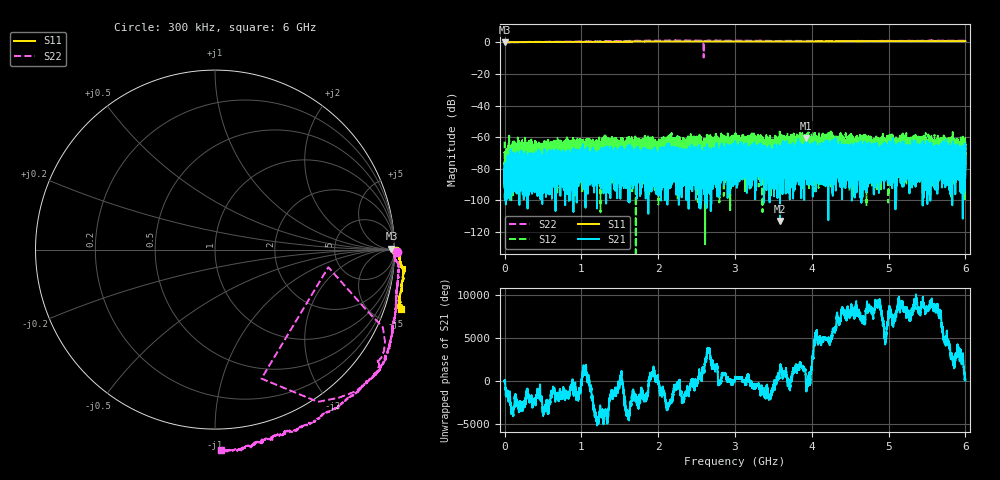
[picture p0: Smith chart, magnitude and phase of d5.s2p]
!Agilent Technologies,N5230C,SG49000117,A.08.50.07
!Agilent N5230C: A.08.50.07
!Date: Thursday, May 16, 2024 18:09:29
!Correction: S11(Full 2 Port(1,2))
!S21(Full 2 Port(1,2))
!S12(Full 2 Port(1,2))
!S22(Full 2 Port(1,2))
!S2P File: Measurements: S11, S21, S12, S22:
# Hz S  MA  R 50
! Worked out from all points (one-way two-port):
!   20001 points, 300 kHz to 6 GHz, reference 50 ohm
!   highest |S21| = -60.45 dB at 3.926 GHz (marker M1); lowest = -113.0 dB at 3.586 GHz (marker M2)
!   lowest |S11| = -0.1 dB at 600 kHz (marker M3), VSWR 118.18, Z = 5.35e+03 + j1.72e+03 ohm
!   |S11| at or under -10 dB: nowhere
!   |S22| runs from -9.6 to 1.1 dB; largest |S21 - S12| = 0.0018
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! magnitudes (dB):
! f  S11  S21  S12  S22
! 300 kHz  0.1  -76.4  -62.7  0.1
! 600 kHz  -0.1  -92.1  -71.9  -0.3
! 30.6 MHz  0.0  -82.6  -68.8  0.0
! 245.7 MHz  0.1  -83.3  -71.5  0.2
! 449.7 MHz  0.2  -76.7  -77.0  0.2
! 1 GHz  0.3  -81.9  -69.5  0.4
! 2 GHz  0.5  -78.4  -74.2  1.0
! 2.149 GHz  0.5  -72.2  -77.7  1.1
! 2.57 GHz  0.5  -74.4  -65.3  0.9
! 2.631 GHz  0.5  -104.8  -61.0  0.8
! 2.778 GHz  0.5  -72.9  -68.0  1.0
! 3 GHz  0.5  -89.8  -63.3  1.0
! 3.586 GHz  0.5  -113.0  -63.2  0.8
! 3.926 GHz  0.5  -60.4  -61.3  0.8
! 4 GHz  0.5  -65.0  -70.4  0.8
! 4.204 GHz  0.6  -65.4  -60.7  0.8
! 4.451 GHz  0.7  -77.2  -63.6  0.7
! 5 GHz  0.7  -66.6  -79.2  0.8
! 5.587 GHz  0.7  -72.4  -69.3  1.0
! 5.729 GHz  0.7  -70.5  -68.0  1.0
! 5.954 GHz  0.7  -92.0  -68.6  0.9
! 6 GHz  0.7  -79.4  -64.5  1.0
